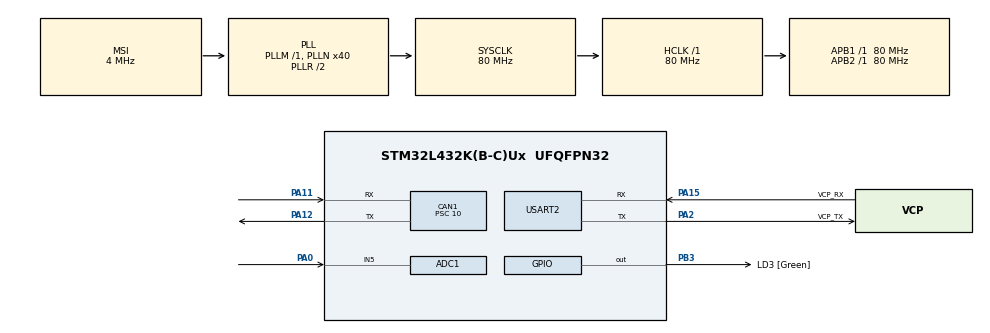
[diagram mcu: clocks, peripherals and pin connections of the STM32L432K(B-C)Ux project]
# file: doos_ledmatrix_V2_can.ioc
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ADC1.Channel-1\#ChannelRegularConversion=ADC_CHANNEL_5
ADC1.NbrOfConversionFlag=1
ADC1.OffsetNumber-1\#ChannelRegularConversion=ADC_OFFSET_NONE
ADC1.Rank-1\#ChannelRegularConversion=1
ADC1.SamplingTime-1\#ChannelRegularConversion=ADC_SAMPLETIME_2CYCLES_5
ADC1.master=1
CAN1.ABOM=ENABLE
CAN1.BS1=CAN_BS1_13TQ
CAN1.BS2=CAN_BS2_2TQ
CAN1.CalculateBaudRate=500000
CAN1.CalculateTimeBit=2000
CAN1.CalculateTimeQuantum=125.0
CAN1.NART=ENABLE
CAN1.Prescaler=10
Mcu.Family=STM32L4
Mcu.Name=STM32L432K(B-C)Ux
Mcu.Package=UFQFPN32
NVIC.CAN1_RX0_IRQn=true\:0\:0\:false\:false\:true\:true\:true\:true
NVIC.PriorityGroup=NVIC_PRIORITYGROUP_4
PA0.Signal=ADCx_IN5
PA11.GPIO_PuPd=GPIO_PULLUP
PA11.Mode=CAN_Activate
PA11.Signal=CAN1_RX
PA12.Mode=CAN_Activate
PA12.Signal=CAN1_TX
PA13\ (JTMS-SWDIO).GPIO_Label=SWDIO
PA13\ (JTMS-SWDIO).Mode=Serial_Wire
PA13\ (JTMS-SWDIO).Signal=SYS_JTMS-SWDIO
PA14\ (JTCK-SWCLK).GPIO_Label=SWCLK
PA14\ (JTCK-SWCLK).Mode=Serial_Wire
PA14\ (JTCK-SWCLK).Signal=SYS_JTCK-SWCLK
PA15\ (JTDI).GPIO_Label=VCP_RX
PA15\ (JTDI).Mode=Asynchronous
PA15\ (JTDI).Signal=USART2_RX
PA2.GPIO_Label=VCP_TX
PA2.Mode=Asynchronous
PA2.Signal=USART2_TX
PB3\ (JTDO-TRACESWO).GPIO_Label=LD3 [Green]
PB3\ (JTDO-TRACESWO).Signal=GPIO_Output
PC14-OSC32_IN\ (PC14).Mode=LSE-External-Oscillator
PC14-OSC32_IN\ (PC14).Signal=RCC_OSC32_IN
PC15-OSC32_OUT\ (PC15).Mode=LSE-External-Oscillator
PC15-OSC32_OUT\ (PC15).Signal=RCC_OSC32_OUT
ProjectManager.HeapSize=0x200
ProjectManager.StackSize=0x400
ProjectManager.TargetToolchain=STM32CubeIDE
RCC.AHBFreq_Value=80000000
RCC.APB1Freq_Value=80000000
RCC.APB1TimFreq_Value=80000000
RCC.APB2Freq_Value=80000000
RCC.APB2TimFreq_Value=80000000
RCC.CortexFreq_Value=80000000
RCC.HCLKFreq_Value=80000000
RCC.HSE_VALUE=8000000
RCC.HSI16_VALUE=16000000
RCC.HSI48_VALUE=48000000
RCC.HSI_VALUE=16000000
RCC.MSI_VALUE=4000000
RCC.PLLMUL=RCC_PLLMUL_4
RCC.PLLN=40
RCC.SYSCLKFreq_VALUE=80000000
RCC.SYSCLKSource=RCC_SYSCLKSOURCE_PLLCLK
RCC.VCOOutputFreq_Value=160000000
SH.ADCx_IN5.0=ADC1_IN5,IN5-Single-Ended
USART2.VirtualMode-Asynchronous=VM_ASYNC
board=NUCLEO-L432KC

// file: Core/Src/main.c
/* USER CODE BEGIN Header */
/**
  ******************************************************************************
  * @file           : main.c
  * @brief          : Main program body
  ******************************************************************************
  * @attention
  *
  * Copyright (c) 2026 STMicroelectronics.
  * All rights reserved.
  *
  * This software is licensed under terms that can be found in the LICENSE file
  * in the root directory of this software component.
  * If no LICENSE file comes with this software, it is provided AS-IS.
  *
  ******************************************************************************
  */
/* USER CODE END Header */
#include "main.h"

/* USER CODE BEGIN Includes */
#include <stdio.h>
#include <string.h>
/* USER CODE END Includes */

ADC_HandleTypeDef hadc1;

CAN_HandleTypeDef hcan1;

UART_HandleTypeDef huart2;

/* USER CODE BEGIN PV */
uint8_t state = 0;
CAN_RxHeaderTypeDef   rxHeader;
uint8_t               rxData[8];
volatile int datacheck = 0;
volatile int zonnepaneelDatacheck = 0;
/* USER CODE END PV */

void SystemClock_Config(void);
static void MX_GPIO_Init(void);
static void MX_USART2_UART_Init(void);
static void MX_CAN1_Init(void);
static void MX_ADC1_Init(void);
/* USER CODE BEGIN PFP */
void uartPrint(char *msg);
/* USER CODE END PFP */

int main(void)
{

  /* MCU Configuration--------------------------------------------------------*/

  /* Reset of all peripherals, Initializes the Flash interface and the Systick. */
  HAL_Init();

  /* Configure the system clock */
  SystemClock_Config();

  /* Initialize all configured peripherals */
  MX_GPIO_Init();
  MX_USART2_UART_Init();
  MX_CAN1_Init();
  MX_ADC1_Init();
  /* USER CODE BEGIN 2 */
  CAN_FilterTypeDef filter;

  filter.FilterBank = 0;
  filter.FilterMode = CAN_FILTERMODE_IDMASK;
  filter.FilterScale = CAN_FILTERSCALE_32BIT;
  filter.FilterIdHigh = 0;
  filter.FilterIdLow = 0;
  filter.FilterMaskIdHigh = 0;
  filter.FilterMaskIdLow = 0;
  filter.FilterFIFOAssignment = CAN_FILTER_FIFO0;
  filter.FilterActivation = ENABLE;

  HAL_CAN_ConfigFilter(&hcan1, &filter);
  HAL_CAN_Start(&hcan1);
  if (HAL_CAN_ActivateNotification(&hcan1, CAN_IT_RX_FIFO0_MSG_PENDING) != HAL_OK)
  {
	  Error_Handler();
  }

  uint16_t voltage = { 0 };
  /* USER CODE END 2 */

  /* Infinite loop */
  /* USER CODE BEGIN WHILE */
  while (1)
  {

	    CAN_TxHeaderTypeDef header;
	    uint32_t mailbox;
	    uint8_t data[2] = {0x11, 0x12};

	    header.StdId = 0x310;
	    header.IDE = CAN_ID_STD;
	    header.RTR = CAN_RTR_DATA;
	    header.DLC = 2;
	    char txtBuffer[70] = { 0 };
	    HAL_Delay(4000);

	    // Zonnepaneel
	    HAL_ADC_Start(&hadc1);
	    HAL_ADC_PollForConversion(&hadc1, HAL_MAX_DELAY);
	    voltage = HAL_ADC_GetValue(&hadc1);
	    HAL_ADC_Stop(&hadc1);

	    int aantal = snprintf(txtBuffer, 70, "De voltage uit zonnepaneel: %d.\r\n", voltage);
	    HAL_UART_Transmit(&huart2, (uint8_t*) txtBuffer, aantal, HAL_MAX_DELAY);

	    // Schrijf de voltage data om naar data die verzonden kan worden over CAN
	    data[0] = (voltage >> 8) & 0xFF;
	    data[1] = voltage & 0xFF;

	    // Code zodat Pi niet in blokking komt op het moment
	    if (HAL_CAN_AddTxMessage(&hcan1, &header, data, &mailbox) != HAL_OK){
	    	Error_Handler ();
	    	HAL_UART_Transmit(&huart2, (uint8_t*) txtBuffer, aantal, HAL_MAX_DELAY);
	    }
	    else {
	    	char msg[] = "CAN verstuurd!\n\r";
	    	HAL_UART_Transmit(&huart2, (uint8_t*)msg, strlen(msg), HAL_MAX_DELAY);
	    }

	    HAL_Delay(1000);
	    // Kijk of er een bericht is gestuurd vanaf de Pi om zonnepaneeldata op te vragen
	    if (zonnepaneelDatacheck){
		    char msg2[] = "CAN ontvangen!\n\0";
		    HAL_UART_Transmit(&huart2, (uint8_t*)msg2, strlen(msg2), HAL_MAX_DELAY);

		    if (HAL_CAN_AddTxMessage(&hcan1, &header, data, &mailbox) != HAL_OK){
		    	Error_Handler ();
		    	HAL_UART_Transmit(&huart2, (uint8_t*) txtBuffer, aantal, HAL_MAX_DELAY);
		    }
		    else {
		    	char msg[] = "CAN verstuurd!\n\r";
		    	HAL_UART_Transmit(&huart2, (uint8_t*)msg, strlen(msg), HAL_MAX_DELAY);
		    }

	    	zonnepaneelDatacheck = 0;
	    }
    /* USER CODE END WHILE */

  }
}

void SystemClock_Config(void)
{
  RCC_OscInitTypeDef RCC_OscInitStruct = {0};
  RCC_ClkInitTypeDef RCC_ClkInitStruct = {0};

  /** Configure the main internal regulator output voltage
  */
  if (HAL_PWREx_ControlVoltageScaling(PWR_REGULATOR_VOLTAGE_SCALE1) != HAL_OK)
  {
    Error_Handler();
  }

  /** Configure LSE Drive Capability
  */
  HAL_PWR_EnableBkUpAccess();
  __HAL_RCC_LSEDRIVE_CONFIG(RCC_LSEDRIVE_LOW);

  /** Initializes the RCC Oscillators according to the specified parameters
  * in the RCC_OscInitTypeDef structure.
  */
  RCC_OscInitStruct.OscillatorType = RCC_OSCILLATORTYPE_LSE|RCC_OSCILLATORTYPE_MSI;
  RCC_OscInitStruct.LSEState = RCC_LSE_ON;
  RCC_OscInitStruct.MSIState = RCC_MSI_ON;
  RCC_OscInitStruct.MSICalibrationValue = 0;
  RCC_OscInitStruct.MSIClockRange = RCC_MSIRANGE_6;
  RCC_OscInitStruct.PLL.PLLState = RCC_PLL_ON;
  RCC_OscInitStruct.PLL.PLLSource = RCC_PLLSOURCE_MSI;
  RCC_OscInitStruct.PLL.PLLM = 1;
  RCC_OscInitStruct.PLL.PLLN = 40;
  RCC_OscInitStruct.PLL.PLLP = RCC_PLLP_DIV7;
  RCC_OscInitStruct.PLL.PLLQ = RCC_PLLQ_DIV2;
  RCC_OscInitStruct.PLL.PLLR = RCC_PLLR_DIV2;
  if (HAL_RCC_OscConfig(&RCC_OscInitStruct) != HAL_OK)
  {
    Error_Handler();
  }

  /** Initializes the CPU, AHB and APB buses clocks
  */
  RCC_ClkInitStruct.ClockType = RCC_CLOCKTYPE_HCLK|RCC_CLOCKTYPE_SYSCLK
                              |RCC_CLOCKTYPE_PCLK1|RCC_CLOCKTYPE_PCLK2;
  RCC_ClkInitStruct.SYSCLKSource = RCC_SYSCLKSOURCE_PLLCLK;
  RCC_ClkInitStruct.AHBCLKDivider = RCC_SYSCLK_DIV1;
  RCC_ClkInitStruct.APB1CLKDivider = RCC_HCLK_DIV1;
  RCC_ClkInitStruct.APB2CLKDivider = RCC_HCLK_DIV1;

  if (HAL_RCC_ClockConfig(&RCC_ClkInitStruct, FLASH_LATENCY_4) != HAL_OK)
  {
    Error_Handler();
  }

  /** Enable MSI Auto calibration
  */
  HAL_RCCEx_EnableMSIPLLMode();
}

static void MX_ADC1_Init(void)
{

  ADC_ChannelConfTypeDef sConfig = {0};

  /** Common config
  */
  hadc1.Instance = ADC1;
  hadc1.Init.ClockPrescaler = ADC_CLOCK_ASYNC_DIV1;
  hadc1.Init.Resolution = ADC_RESOLUTION_12B;
  hadc1.Init.DataAlign = ADC_DATAALIGN_RIGHT;
  hadc1.Init.ScanConvMode = ADC_SCAN_DISABLE;
  hadc1.Init.EOCSelection = ADC_EOC_SINGLE_CONV;
  hadc1.Init.LowPowerAutoWait = DISABLE;
  hadc1.Init.ContinuousConvMode = DISABLE;
  hadc1.Init.NbrOfConversion = 1;
  hadc1.Init.DiscontinuousConvMode = DISABLE;
  hadc1.Init.ExternalTrigConv = ADC_SOFTWARE_START;
  hadc1.Init.ExternalTrigConvEdge = ADC_EXTERNALTRIGCONVEDGE_NONE;
  hadc1.Init.DMAContinuousRequests = DISABLE;
  hadc1.Init.Overrun = ADC_OVR_DATA_PRESERVED;
  hadc1.Init.OversamplingMode = DISABLE;
  if (HAL_ADC_Init(&hadc1) != HAL_OK)
  {
    Error_Handler();
  }

  /** Configure Regular Channel
  */
  sConfig.Channel = ADC_CHANNEL_5;
  sConfig.Rank = ADC_REGULAR_RANK_1;
  sConfig.SamplingTime = ADC_SAMPLETIME_2CYCLES_5;
  sConfig.SingleDiff = ADC_SINGLE_ENDED;
  sConfig.OffsetNumber = ADC_OFFSET_NONE;
  sConfig.Offset = 0;
  if (HAL_ADC_ConfigChannel(&hadc1, &sConfig) != HAL_OK)
  {
    Error_Handler();
  }

}

static void MX_CAN1_Init(void)
{

  hcan1.Instance = CAN1;
  hcan1.Init.Prescaler = 10;
  hcan1.Init.Mode = CAN_MODE_NORMAL;
  hcan1.Init.SyncJumpWidth = CAN_SJW_1TQ;
  hcan1.Init.TimeSeg1 = CAN_BS1_13TQ;
  hcan1.Init.TimeSeg2 = CAN_BS2_2TQ;
  hcan1.Init.TimeTriggeredMode = DISABLE;
  hcan1.Init.AutoBusOff = ENABLE;
  hcan1.Init.AutoWakeUp = DISABLE;
  hcan1.Init.AutoRetransmission = ENABLE;
  hcan1.Init.ReceiveFifoLocked = DISABLE;
  hcan1.Init.TransmitFifoPriority = DISABLE;
  if (HAL_CAN_Init(&hcan1) != HAL_OK)
  {
    Error_Handler();
  }

}

static void MX_USART2_UART_Init(void)
{

  huart2.Instance = USART2;
  huart2.Init.BaudRate = 115200;
  huart2.Init.WordLength = UART_WORDLENGTH_8B;
  huart2.Init.StopBits = UART_STOPBITS_1;
  huart2.Init.Parity = UART_PARITY_NONE;
  huart2.Init.Mode = UART_MODE_TX_RX;
  huart2.Init.HwFlowCtl = UART_HWCONTROL_NONE;
  huart2.Init.OverSampling = UART_OVERSAMPLING_16;
  huart2.Init.OneBitSampling = UART_ONE_BIT_SAMPLE_DISABLE;
  huart2.AdvancedInit.AdvFeatureInit = UART_ADVFEATURE_NO_INIT;
  if (HAL_UART_Init(&huart2) != HAL_OK)
  {
    Error_Handler();
  }

}

static void MX_GPIO_Init(void)
{
  GPIO_InitTypeDef GPIO_InitStruct = {0};

  /* GPIO Ports Clock Enable */
  __HAL_RCC_GPIOC_CLK_ENABLE();
  __HAL_RCC_GPIOA_CLK_ENABLE();
  __HAL_RCC_GPIOB_CLK_ENABLE();

  /*Configure GPIO pin Output Level */
  HAL_GPIO_WritePin(LD3_GPIO_Port, LD3_Pin, GPIO_PIN_RESET);

  /*Configure GPIO pin : LD3_Pin */
  GPIO_InitStruct.Pin = LD3_Pin;
  GPIO_InitStruct.Mode = GPIO_MODE_OUTPUT_PP;
  GPIO_InitStruct.Pull = GPIO_NOPULL;
  GPIO_InitStruct.Speed = GPIO_SPEED_FREQ_LOW;
  HAL_GPIO_Init(LD3_GPIO_Port, &GPIO_InitStruct);

}

/* USER CODE BEGIN 4 */
void HAL_CAN_RxFifo0MsgPendingCallback(CAN_HandleTypeDef *hcan)
{
  if (HAL_CAN_GetRxMessage(hcan, CAN_RX_FIFO0, &rxHeader, rxData) != HAL_OK)
  {
    Error_Handler();
  }
  if ((rxHeader.StdId == 110))
  {
	  zonnepaneelDatacheck = 1;
  }
}

/* USER CODE END 4 */

void Error_Handler(void)
{
  __disable_irq();
  while (1)
  {
  }
}
